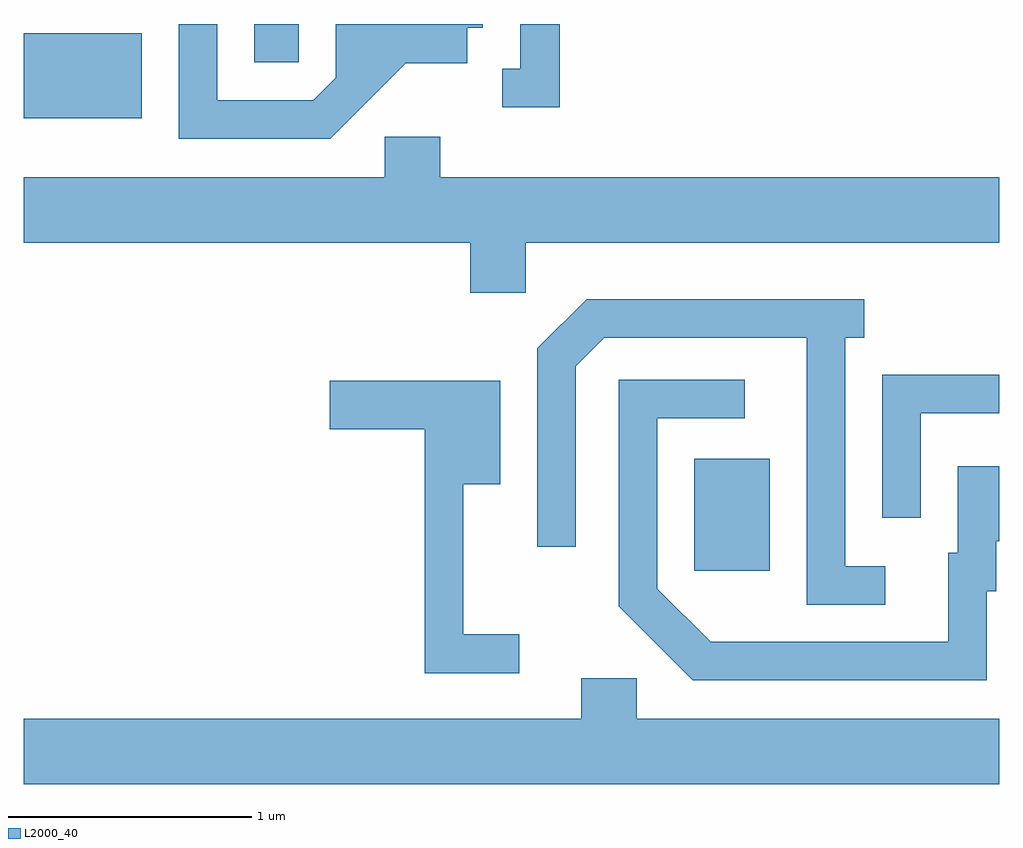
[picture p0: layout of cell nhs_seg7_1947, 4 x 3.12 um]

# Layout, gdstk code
import gdstk
lib = gdstk.Library(unit=1e-6, precision=1e-09)
def R(c, l, rs):  # rectangles x0, y0, x1, y1
    for r in rs: c.add(gdstk.rectangle(r[:2], r[2:], *l))
def P(c, l, *ps):  # polygons
    for p in ps: c.add(gdstk.Polygon(p, *l))
L2000_40 = (2000, 40)

nhs_seg7_1947 = lib.new_cell('nhs_seg7_1947')
R(nhs_seg7_1947, L2000_40, [(246.361,1784.011,246.669,1784.469), (243.611,1785.866,244.094,1786.214), (244.556,1786.096,244.739,1786.252)])
P(nhs_seg7_1947, L2000_40, [(245.177,1786.091),(245.429,1786.091),(245.429,1786.236),(245.494,1786.236),(245.494,1786.252),(244.891,1786.252),(244.891,1786.032),(244.799,1785.939),(244.404,1785.939),(244.404,1786.252),(244.246,1786.252),(244.246,1785.781),(244.867,1785.781)],
  [(245.809,1786.252),(245.646,1786.252),(245.646,1786.069),(245.573,1786.069),(245.573,1785.911),(245.809,1785.911)],
  [(245.669,1785.356),(247.611,1785.356),(247.611,1785.624),(245.319,1785.624),(245.319,1785.789),(245.091,1785.789),(245.091,1785.624),(243.611,1785.624),(243.611,1785.356),(245.441,1785.356),(245.441,1785.151),(245.669,1785.151)],
  [(247.143,1784.029),(246.979,1784.029),(246.979,1784.966),(247.058,1784.966),(247.058,1785.124),(245.919,1785.124),(245.716,1784.922),(245.716,1784.108),(245.874,1784.108),(245.874,1784.849),(245.992,1784.966),(246.821,1784.966),(246.821,1783.871),(247.143,1783.871)],
  [(247.289,1784.656),(247.611,1784.656),(247.611,1784.814),(247.131,1784.814),(247.131,1784.228),(247.289,1784.228)],
  [(247.559,1783.926),(247.599,1783.926),(247.599,1784.131),(247.611,1784.131),(247.611,1784.439),(247.441,1784.439),(247.441,1784.084),(247.401,1784.084),(247.401,1783.719),(246.427,1783.719),(246.209,1783.937),(246.209,1784.636),(246.568,1784.636),(246.568,1784.794),(246.051,1784.794),(246.051,1783.864),(246.354,1783.561),(247.559,1783.561)],
  [(245.643,1783.749),(245.414,1783.749),(245.414,1784.366),(245.564,1784.366),(245.564,1784.789),(244.866,1784.789),(244.866,1784.591),(245.256,1784.591),(245.256,1783.591),(245.643,1783.591)],
  [(247.611,1783.404),(246.124,1783.404),(246.124,1783.569),(245.896,1783.569),(245.896,1783.404),(243.611,1783.404),(243.611,1783.136),(247.611,1783.136)])

lib.write_gds('nhs_seg7_1947.gds')
